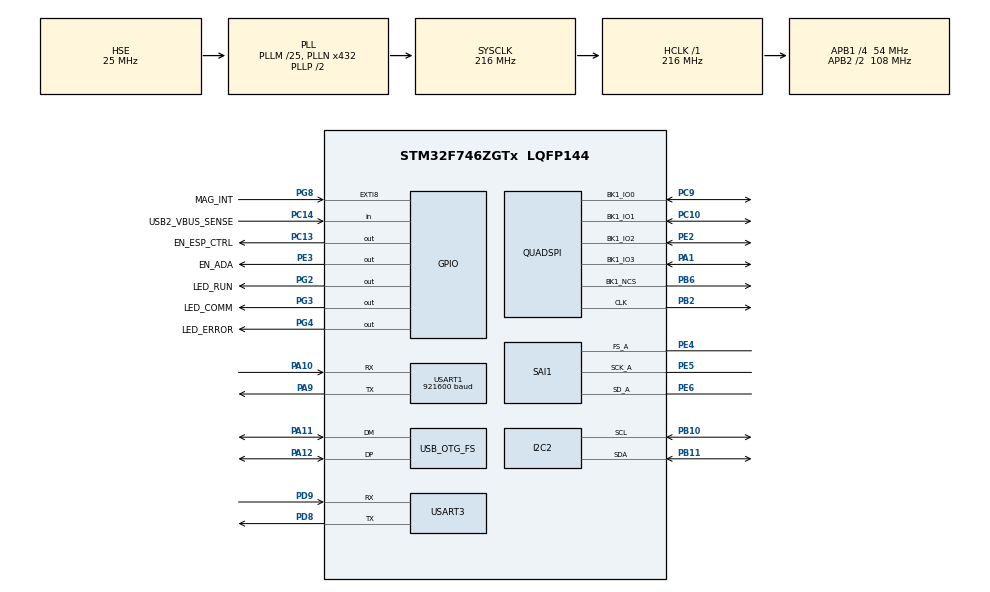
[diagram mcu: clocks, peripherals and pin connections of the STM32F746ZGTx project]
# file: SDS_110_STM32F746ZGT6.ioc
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CORTEX_M7.CPU_DCache=Enabled
CORTEX_M7.CPU_ICache=Enabled
Dma.Request0=SAI1_A
Dma.SAI1_A.0.Direction=DMA_PERIPH_TO_MEMORY
Dma.SAI1_A.0.FIFOMode=DMA_FIFOMODE_DISABLE
Dma.SAI1_A.0.Instance=DMA2_Stream1
Dma.SAI1_A.0.MemDataAlignment=DMA_MDATAALIGN_WORD
Dma.SAI1_A.0.MemInc=DMA_MINC_ENABLE
Dma.SAI1_A.0.Mode=DMA_CIRCULAR
Dma.SAI1_A.0.PeriphDataAlignment=DMA_PDATAALIGN_WORD
Dma.SAI1_A.0.PeriphInc=DMA_PINC_DISABLE
Dma.SAI1_A.0.Priority=DMA_PRIORITY_HIGH
FREERTOS.Tasks01=defaultTask,24,256,StartDefaultTask,Default,NULL,Dynamic,NULL,NULL
FREERTOS.configCHECK_FOR_STACK_OVERFLOW=2
FREERTOS.configENABLE_FPU=1
FREERTOS.configTOTAL_HEAP_SIZE=32768
FREERTOS.configUSE_APPLICATION_TASK_TAG=1
FREERTOS.configUSE_IDLE_HOOK=1
FREERTOS.configUSE_MALLOC_FAILED_HOOK=1
FREERTOS.configUSE_NEWLIB_REENTRANT=1
I2C2.Timing=0x20404768
Mcu.Family=STM32F7
Mcu.Name=STM32F746ZGTx
Mcu.Package=LQFP144
NVIC.DMA2_Stream1_IRQn=true\:5\:0\:false\:false\:true\:true\:false\:true\:true
NVIC.OTG_FS_IRQn=true\:5\:0\:false\:false\:true\:true\:true\:true\:true
NVIC.PriorityGroup=NVIC_PRIORITYGROUP_4
NVIC.SAI1_IRQn=true\:5\:0\:false\:false\:true\:true\:true\:true\:true
NVIC.TIM6_DAC_IRQn=true\:15\:0\:false\:false\:true\:false\:false\:true\:true
NVIC.TimeBase=TIM6_DAC_IRQn
NVIC.TimeBaseIP=TIM6
PA1.Mode=Single Bank 1
PA1.Signal=QUADSPI_BK1_IO3
PA10.Mode=Asynchronous
PA10.Signal=USART1_RX
PA11.Mode=Device_Only
PA11.Signal=USB_OTG_FS_DM
PA12.Mode=Device_Only
PA12.Signal=USB_OTG_FS_DP
PA13.Mode=JTAG_4_pins
PA13.Signal=SYS_JTMS-SWDIO
PA14.Mode=JTAG_4_pins
PA14.Signal=SYS_JTCK-SWCLK
PA15.Mode=JTAG_4_pins
PA15.Signal=SYS_JTDI
PA9.Mode=Asynchronous
PA9.Signal=USART1_TX
PB10.Mode=I2C
PB10.Signal=I2C2_SCL
PB11.Mode=I2C
PB11.Signal=I2C2_SDA
PB2.Mode=Single Bank 1
PB2.Signal=QUADSPI_CLK
PB3.Mode=JTAG_4_pins
PB3.Signal=SYS_JTDO-SWO
PB6.Mode=Single Bank 1
PB6.Signal=QUADSPI_BK1_NCS
PC10.Mode=Single Bank 1
PC10.Signal=QUADSPI_BK1_IO1
PC13.GPIO_Label=EN_ESP_CTRL
PC13.PinState=GPIO_PIN_SET
PC13.Signal=GPIO_Output
PC14/OSC32_IN.GPIO_Label=USB2_VBUS_SENSE
PC14/OSC32_IN.Signal=GPIO_Input
PC9.Mode=Single Bank 1
PC9.Signal=QUADSPI_BK1_IO0
PD8.Mode=Asynchronous
PD8.Signal=USART3_TX
PD9.Mode=Asynchronous
PD9.Signal=USART3_RX
PE2.Mode=Single Bank 1
PE2.Signal=QUADSPI_BK1_IO2
PE3.GPIO_Label=EN_ADA
PE3.Signal=GPIO_Output
PE4.Mode=SAI_A_Master
PE4.Signal=SAI1_FS_A
PE5.Mode=SAI_A_Master
PE5.Signal=SAI1_SCK_A
PE6.Mode=SAI_A_Master
PE6.Signal=SAI1_SD_A
PG2.GPIO_Label=LED_RUN
PG2.Signal=GPIO_Output
PG3.GPIO_Label=LED_COMM
PG3.Signal=GPIO_Output
PG4.GPIO_Label=LED_ERROR
PG4.Signal=GPIO_Output
PG8.GPIO_Label=MAG_INT
PG8.GPIO_ModeDefaultEXTI=GPIO_MODE_IT_RISING
PG8.Signal=GPXTI8
PH0/OSC_IN.Mode=HSE-External-Oscillator
PH0/OSC_IN.Signal=RCC_OSC_IN
PH1/OSC_OUT.Mode=HSE-External-Oscillator
PH1/OSC_OUT.Signal=RCC_OSC_OUT
ProjectManager.HeapSize=0x200
ProjectManager.StackSize=0x400
ProjectManager.TargetToolchain=STM32CubeIDE
QUADSPI.SampleShifting=QSPI_SAMPLE_SHIFTING_HALFCYCLE
RCC.AHBFreq_Value=216000000
RCC.APB1CLKDivider=RCC_HCLK_DIV4
RCC.APB1Freq_Value=54000000
RCC.APB1TimFreq_Value=108000000
RCC.APB2CLKDivider=RCC_HCLK_DIV2
RCC.APB2Freq_Value=108000000
RCC.APB2TimFreq_Value=216000000
RCC.CortexFreq_Value=216000000
RCC.HCLKFreq_Value=216000000
RCC.HSE_VALUE=25000000
RCC.HSI_VALUE=16000000
RCC.LSE_VALUE=32768
RCC.PLLI2SN=100
RCC.PLLM=25
RCC.PLLN=432
RCC.PLLQ=9
RCC.PLLSAIN=384
RCC.PLLSAIP=RCC_PLLSAIP_DIV8
RCC.SYSCLKFreq_VALUE=216000000
RCC.SYSCLKSource=RCC_SYSCLKSOURCE_PLLCLK
RCC.USBFreq_Value=48000000
RCC.VCOOutputFreq_Value=432000000
SAI1.AudioFrequency-SAI_A_Master=SAI_AUDIO_FREQUENCY_48K
SAI1.AudioMode-SAI_A_Master=SAI_MODEMASTER_RX
SAI1.BasicDataSize-SAI_A_Master=SAI_PROTOCOL_DATASIZE_32BIT
SAI1.BasicProtocol-SAI_A_Master=SAI_PCM_LONG
SAI1.BasicSlotNumber-SAI_A_Master=8
SAI1.ErrorAudioFreq-SAI_A_Master=-2.34 %
SAI1.InitProtocol-SAI_A_Master=Enable
SAI1.Instance-SAI_A_Master=SAI$Index_Block_A
SAI1.MClockEnable-SAI_A_Master=SAI_MASTERCLOCK_DISABLE
SAI1.RealAudioFreq-SAI_A_Master=46.875 KHz
SAI1.VirtualMode-SAI_A_Master=VM_MASTER
SAI1.VirtualProtocol-SAI_A_BASIC=VM_BASIC_PROTOCOL
STMicroelectronics.X-CUBE-ALGOBUILD.1.5.0.LibraryCcDSPOoLibraryJjDSPOoLibrary=true
USART1.BaudRate=921600
USART1.VirtualMode-Asynchronous=VM_ASYNC
USART3.VirtualMode-Asynchronous=VM_ASYNC
USB_DEVICE.CLASS_NAME_FS=CDC
USB_DEVICE.VirtualMode-CDC_FS=Cdc
USB_DEVICE.VirtualModeFS=Cdc_FS
USB_OTG_FS.VirtualMode=Device_Only
VP_FREERTOS_VS_CMSIS_V2.Mode=CMSIS_V2
VP_RTC_VS_RTC_Activate.Mode=RTC_Enabled
VP_SAI1_VP_$IpInstance_SAIA_SAI_BASIC.Mode=SAI_A_BASIC
VP_STMicroelectronics.X-CUBE-ALGOBUILD_VS_DSPOoLibraryJjLibrary_1.5.0_1.5.0.Mode=DSPOoLibraryJjLibrary
VP_SYS_VS_tim6.Mode=TIM6
VP_TIM10_VS_ClockSourceINT.Mode=Enable_Timer
VP_TIM1_VS_ClockSourceINT.Mode=Internal
VP_TIM2_VS_ClockSourceINT.Mode=Internal
VP_TIM3_VS_ClockSourceINT.Mode=Internal
VP_TIM4_VS_ClockSourceINT.Mode=Internal
VP_TIM5_VS_ClockSourceINT.Mode=Internal
VP_TIM7_VS_ClockSourceINT.Mode=Enable_Timer
VP_TIM8_VS_ClockSourceINT.Mode=Internal
VP_TIM9_VS_ClockSourceINT.Mode=Internal
VP_USB_DEVICE_VS_USB_DEVICE_CDC_FS.Mode=CDC_FS
board=custom

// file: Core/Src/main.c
/* USER CODE BEGIN Header */
/**
  ******************************************************************************
  * @file           : main.c
  * @brief          : Main program body
  ******************************************************************************
  * @attention
  *
  * Copyright (c) 2026 STMicroelectronics.
  * All rights reserved.
  *
  * This software is licensed under terms that can be found in the LICENSE file
  * in the root directory of this software component.
  * If no LICENSE file comes with this software, it is provided AS-IS.
  *
  ******************************************************************************
  */
/* USER CODE END Header */
#include "main.h"
#include "cmsis_os.h"
#include "usb_device.h"

/* USER CODE BEGIN Includes */
#include "SDS_110_Wrapper.hpp"
/* USER CODE END Includes */

I2C_HandleTypeDef hi2c2;

QSPI_HandleTypeDef hqspi;

RTC_HandleTypeDef hrtc;

SAI_HandleTypeDef hsai_BlockA1;
DMA_HandleTypeDef hdma_sai1_a;

TIM_HandleTypeDef htim1;
TIM_HandleTypeDef htim2;
TIM_HandleTypeDef htim3;
TIM_HandleTypeDef htim4;
TIM_HandleTypeDef htim5;
TIM_HandleTypeDef htim7;
TIM_HandleTypeDef htim8;
TIM_HandleTypeDef htim9;
TIM_HandleTypeDef htim10;

UART_HandleTypeDef huart1;
UART_HandleTypeDef huart3;

/* Definitions for defaultTask */
osThreadId_t defaultTaskHandle;
const osThreadAttr_t defaultTask_attributes = {
  .name = "defaultTask",
  .stack_size = 256 * 4,
  .priority = (osPriority_t) osPriorityNormal,
};

void SystemClock_Config(void);
static void MX_GPIO_Init(void);
static void MX_DMA_Init(void);
static void MX_QUADSPI_Init(void);
static void MX_RTC_Init(void);
static void MX_SAI1_Init(void);
static void MX_TIM1_Init(void);
static void MX_TIM2_Init(void);
static void MX_TIM3_Init(void);
static void MX_TIM4_Init(void);
static void MX_TIM5_Init(void);
static void MX_TIM7_Init(void);
static void MX_TIM8_Init(void);
static void MX_TIM9_Init(void);
static void MX_TIM10_Init(void);
static void MX_I2C2_Init(void);
static void MX_USART1_UART_Init(void);
static void MX_USART3_UART_Init(void);
void StartDefaultTask(void *argument);

int main(void)
{

  /* USER CODE BEGIN 1 */
  SDS110_MPU_Config();          // vor I-/D-Cache-Enable und HAL_Init (SRAM2 = DMA, nicht cachebar)
  /* USER CODE END 1 */

  /* Enable the CPU Cache */

  /* Enable I-Cache---------------------------------------------------------*/
  SCB_EnableICache();

  /* Enable D-Cache---------------------------------------------------------*/
  SCB_EnableDCache();

  /* MCU Configuration--------------------------------------------------------*/

  /* Reset of all peripherals, Initializes the Flash interface and the Systick. */
  HAL_Init();

  /* Configure the system clock */
  SystemClock_Config();

  /* USER CODE BEGIN SysInit */
  PrintfDriver();               // ITM/SWO (PB3) für printf und Fatal-Meldungen
  /* USER CODE END SysInit */

  /* Initialize all configured peripherals */
  MX_GPIO_Init();
  MX_DMA_Init();
  MX_QUADSPI_Init();
  MX_RTC_Init();
  MX_SAI1_Init();
  MX_TIM1_Init();
  MX_TIM2_Init();
  MX_TIM3_Init();
  MX_TIM4_Init();
  MX_TIM5_Init();
  MX_TIM7_Init();
  MX_TIM8_Init();
  MX_TIM9_Init();
  MX_TIM10_Init();
  MX_I2C2_Init();
  MX_USART1_UART_Init();
  MX_USART3_UART_Init();
  /* USER CODE BEGIN 2 */
#if SDS110_UART_SELFTEST
  SDS110_UartSelfTest();        // Selbsttest USART1/CP2102N, kehrt nicht zurück (SDS_110_Board.h)
#endif
  /* USER CODE END 2 */

  /* Init scheduler */
  osKernelInitialize();

  /* USER CODE BEGIN RTOS_MUTEX */
  SDS110_Init();                // ADAU7118 (I2C2) + SAI1, Module 112/120
  /* add mutexes, ... */
  /* USER CODE END RTOS_MUTEX */

  /* Create the thread(s) */
  /* creation of defaultTask */
  defaultTaskHandle = osThreadNew(StartDefaultTask, NULL, &defaultTask_attributes);

  /* USER CODE BEGIN RTOS_THREADS */
  /* add threads, ... */
  SDS110_StartProcessingTask();   // Simulation (Standard) bzw. SAI1/DMA-Hops
  SDS110_StartUSBTask();
  SDS110_StartLoggerTask();       // Logger + Status-LEDs (kein LCD auf diesem Board)
  /* USER CODE END RTOS_THREADS */

  /* Start scheduler */
  osKernelStart();

  /* We should never get here as control is now taken by the scheduler */

  /* Infinite loop */
  while (1)
  {

  }
}

void SystemClock_Config(void)
{
  RCC_OscInitTypeDef RCC_OscInitStruct = {0};
  RCC_ClkInitTypeDef RCC_ClkInitStruct = {0};

  /** Configure the main internal regulator output voltage
  */
  __HAL_RCC_PWR_CLK_ENABLE();
  __HAL_PWR_VOLTAGESCALING_CONFIG(PWR_REGULATOR_VOLTAGE_SCALE1);

  /** Initializes the RCC Oscillators according to the specified parameters
  * in the RCC_OscInitTypeDef structure.
  */
  RCC_OscInitStruct.OscillatorType = RCC_OSCILLATORTYPE_LSI|RCC_OSCILLATORTYPE_HSE;
  RCC_OscInitStruct.HSEState = RCC_HSE_ON;
  RCC_OscInitStruct.LSIState = RCC_LSI_ON;
  RCC_OscInitStruct.PLL.PLLState = RCC_PLL_ON;
  RCC_OscInitStruct.PLL.PLLSource = RCC_PLLSOURCE_HSE;
  RCC_OscInitStruct.PLL.PLLM = 25;
  RCC_OscInitStruct.PLL.PLLN = 432;
  RCC_OscInitStruct.PLL.PLLP = RCC_PLLP_DIV2;
  RCC_OscInitStruct.PLL.PLLQ = 9;
  if (HAL_RCC_OscConfig(&RCC_OscInitStruct) != HAL_OK)
  {
    Error_Handler();
  }

  /** Activate the Over-Drive mode
  */
  if (HAL_PWREx_EnableOverDrive() != HAL_OK)
  {
    Error_Handler();
  }

  /** Initializes the CPU, AHB and APB buses clocks
  */
  RCC_ClkInitStruct.ClockType = RCC_CLOCKTYPE_HCLK|RCC_CLOCKTYPE_SYSCLK
                              |RCC_CLOCKTYPE_PCLK1|RCC_CLOCKTYPE_PCLK2;
  RCC_ClkInitStruct.SYSCLKSource = RCC_SYSCLKSOURCE_PLLCLK;
  RCC_ClkInitStruct.AHBCLKDivider = RCC_SYSCLK_DIV1;
  RCC_ClkInitStruct.APB1CLKDivider = RCC_HCLK_DIV4;
  RCC_ClkInitStruct.APB2CLKDivider = RCC_HCLK_DIV2;

  if (HAL_RCC_ClockConfig(&RCC_ClkInitStruct, FLASH_LATENCY_7) != HAL_OK)
  {
    Error_Handler();
  }
}

static void MX_I2C2_Init(void)
{

  /* USER CODE BEGIN I2C2_Init 0 */
#if SDS110_BOARD_DISCO
  return;                       // Discovery-Board: Pins anders belegt, nicht initialisieren (SDS_110_Board.h)
#endif
  /* USER CODE END I2C2_Init 0 */

  hi2c2.Instance = I2C2;
  hi2c2.Init.Timing = 0x20404768;
  hi2c2.Init.OwnAddress1 = 0;
  hi2c2.Init.AddressingMode = I2C_ADDRESSINGMODE_7BIT;
  hi2c2.Init.DualAddressMode = I2C_DUALADDRESS_DISABLE;
  hi2c2.Init.OwnAddress2 = 0;
  hi2c2.Init.OwnAddress2Masks = I2C_OA2_NOMASK;
  hi2c2.Init.GeneralCallMode = I2C_GENERALCALL_DISABLE;
  hi2c2.Init.NoStretchMode = I2C_NOSTRETCH_DISABLE;
  if (HAL_I2C_Init(&hi2c2) != HAL_OK)
  {
    Error_Handler();
  }

  /** Configure Analogue filter
  */
  if (HAL_I2CEx_ConfigAnalogFilter(&hi2c2, I2C_ANALOGFILTER_ENABLE) != HAL_OK)
  {
    Error_Handler();
  }

  /** Configure Digital filter
  */
  if (HAL_I2CEx_ConfigDigitalFilter(&hi2c2, 0) != HAL_OK)
  {
    Error_Handler();
  }

}

static void MX_QUADSPI_Init(void)
{

  /* USER CODE BEGIN QUADSPI_Init 0 */
#if SDS110_BOARD_DISCO
  return;                       // Discovery-Board: Pins anders belegt, nicht initialisieren (SDS_110_Board.h)
#endif
  /* USER CODE END QUADSPI_Init 0 */

  /* QUADSPI parameter configuration*/
  hqspi.Instance = QUADSPI;
  hqspi.Init.ClockPrescaler = 255;
  hqspi.Init.FifoThreshold = 1;
  hqspi.Init.SampleShifting = QSPI_SAMPLE_SHIFTING_HALFCYCLE;
  hqspi.Init.FlashSize = 1;
  hqspi.Init.ChipSelectHighTime = QSPI_CS_HIGH_TIME_1_CYCLE;
  hqspi.Init.ClockMode = QSPI_CLOCK_MODE_0;
  hqspi.Init.FlashID = QSPI_FLASH_ID_1;
  hqspi.Init.DualFlash = QSPI_DUALFLASH_DISABLE;
  if (HAL_QSPI_Init(&hqspi) != HAL_OK)
  {
    Error_Handler();
  }

}

static void MX_RTC_Init(void)
{

  /** Initialize RTC Only
  */
  hrtc.Instance = RTC;
  hrtc.Init.HourFormat = RTC_HOURFORMAT_24;
  hrtc.Init.AsynchPrediv = 127;
  hrtc.Init.SynchPrediv = 255;
  hrtc.Init.OutPut = RTC_OUTPUT_DISABLE;
  hrtc.Init.OutPutPolarity = RTC_OUTPUT_POLARITY_HIGH;
  hrtc.Init.OutPutType = RTC_OUTPUT_TYPE_OPENDRAIN;
  if (HAL_RTC_Init(&hrtc) != HAL_OK)
  {
    Error_Handler();
  }

}

static void MX_SAI1_Init(void)
{

  /* USER CODE BEGIN SAI1_Init 0 */
#if !SDS110_SAI_ENABLED
  return;                       // SAI-Hardwarefehler: SAI1 nicht initialisieren (SDS_110_Board.h)
#endif
  /* USER CODE END SAI1_Init 0 */

  hsai_BlockA1.Instance = SAI1_Block_A;
  hsai_BlockA1.Init.AudioMode = SAI_MODEMASTER_RX;
  hsai_BlockA1.Init.Synchro = SAI_ASYNCHRONOUS;
  hsai_BlockA1.Init.OutputDrive = SAI_OUTPUTDRIVE_DISABLE;
  hsai_BlockA1.Init.NoDivider = SAI_MASTERDIVIDER_ENABLE;
  hsai_BlockA1.Init.FIFOThreshold = SAI_FIFOTHRESHOLD_EMPTY;
  hsai_BlockA1.Init.AudioFrequency = SAI_AUDIO_FREQUENCY_48K;
  hsai_BlockA1.Init.SynchroExt = SAI_SYNCEXT_DISABLE;
  hsai_BlockA1.Init.MonoStereoMode = SAI_STEREOMODE;
  hsai_BlockA1.Init.CompandingMode = SAI_NOCOMPANDING;
  if (HAL_SAI_InitProtocol(&hsai_BlockA1, SAI_PCM_LONG, SAI_PROTOCOL_DATASIZE_32BIT, 8) != HAL_OK)
  {
    Error_Handler();
  }

}

static void MX_TIM1_Init(void)
{

  TIM_ClockConfigTypeDef sClockSourceConfig = {0};
  TIM_MasterConfigTypeDef sMasterConfig = {0};

  htim1.Instance = TIM1;
  htim1.Init.Prescaler = 0;
  htim1.Init.CounterMode = TIM_COUNTERMODE_UP;
  htim1.Init.Period = 65535;
  htim1.Init.ClockDivision = TIM_CLOCKDIVISION_DIV1;
  htim1.Init.RepetitionCounter = 0;
  htim1.Init.AutoReloadPreload = TIM_AUTORELOAD_PRELOAD_DISABLE;
  if (HAL_TIM_Base_Init(&htim1) != HAL_OK)
  {
    Error_Handler();
  }
  sClockSourceConfig.ClockSource = TIM_CLOCKSOURCE_INTERNAL;
  if (HAL_TIM_ConfigClockSource(&htim1, &sClockSourceConfig) != HAL_OK)
  {
    Error_Handler();
  }
  sMasterConfig.MasterOutputTrigger = TIM_TRGO_RESET;
  sMasterConfig.MasterOutputTrigger2 = TIM_TRGO2_RESET;
  sMasterConfig.MasterSlaveMode = TIM_MASTERSLAVEMODE_DISABLE;
  if (HAL_TIMEx_MasterConfigSynchronization(&htim1, &sMasterConfig) != HAL_OK)
  {
    Error_Handler();
  }

}

static void MX_TIM2_Init(void)
{

  TIM_ClockConfigTypeDef sClockSourceConfig = {0};
  TIM_MasterConfigTypeDef sMasterConfig = {0};

  htim2.Instance = TIM2;
  htim2.Init.Prescaler = 0;
  htim2.Init.CounterMode = TIM_COUNTERMODE_UP;
  htim2.Init.Period = 4294967295;
  htim2.Init.ClockDivision = TIM_CLOCKDIVISION_DIV1;
  htim2.Init.AutoReloadPreload = TIM_AUTORELOAD_PRELOAD_DISABLE;
  if (HAL_TIM_Base_Init(&htim2) != HAL_OK)
  {
    Error_Handler();
  }
  sClockSourceConfig.ClockSource = TIM_CLOCKSOURCE_INTERNAL;
  if (HAL_TIM_ConfigClockSource(&htim2, &sClockSourceConfig) != HAL_OK)
  {
    Error_Handler();
  }
  sMasterConfig.MasterOutputTrigger = TIM_TRGO_RESET;
  sMasterConfig.MasterSlaveMode = TIM_MASTERSLAVEMODE_DISABLE;
  if (HAL_TIMEx_MasterConfigSynchronization(&htim2, &sMasterConfig) != HAL_OK)
  {
    Error_Handler();
  }

}

static void MX_TIM3_Init(void)
{

  TIM_ClockConfigTypeDef sClockSourceConfig = {0};
  TIM_MasterConfigTypeDef sMasterConfig = {0};

  htim3.Instance = TIM3;
  htim3.Init.Prescaler = 0;
  htim3.Init.CounterMode = TIM_COUNTERMODE_UP;
  htim3.Init.Period = 65535;
  htim3.Init.ClockDivision = TIM_CLOCKDIVISION_DIV1;
  htim3.Init.AutoReloadPreload = TIM_AUTORELOAD_PRELOAD_DISABLE;
  if (HAL_TIM_Base_Init(&htim3) != HAL_OK)
  {
    Error_Handler();
  }
  sClockSourceConfig.ClockSource = TIM_CLOCKSOURCE_INTERNAL;
  if (HAL_TIM_ConfigClockSource(&htim3, &sClockSourceConfig) != HAL_OK)
  {
    Error_Handler();
  }
  sMasterConfig.MasterOutputTrigger = TIM_TRGO_RESET;
  sMasterConfig.MasterSlaveMode = TIM_MASTERSLAVEMODE_DISABLE;
  if (HAL_TIMEx_MasterConfigSynchronization(&htim3, &sMasterConfig) != HAL_OK)
  {
    Error_Handler();
  }

}

static void MX_TIM4_Init(void)
{

  TIM_ClockConfigTypeDef sClockSourceConfig = {0};
  TIM_MasterConfigTypeDef sMasterConfig = {0};

  htim4.Instance = TIM4;
  htim4.Init.Prescaler = 0;
  htim4.Init.CounterMode = TIM_COUNTERMODE_UP;
  htim4.Init.Period = 65535;
  htim4.Init.ClockDivision = TIM_CLOCKDIVISION_DIV1;
  htim4.Init.AutoReloadPreload = TIM_AUTORELOAD_PRELOAD_DISABLE;
  if (HAL_TIM_Base_Init(&htim4) != HAL_OK)
  {
    Error_Handler();
  }
  sClockSourceConfig.ClockSource = TIM_CLOCKSOURCE_INTERNAL;
  if (HAL_TIM_ConfigClockSource(&htim4, &sClockSourceConfig) != HAL_OK)
  {
    Error_Handler();
  }
  sMasterConfig.MasterOutputTrigger = TIM_TRGO_RESET;
  sMasterConfig.MasterSlaveMode = TIM_MASTERSLAVEMODE_DISABLE;
  if (HAL_TIMEx_MasterConfigSynchronization(&htim4, &sMasterConfig) != HAL_OK)
  {
    Error_Handler();
  }

}

static void MX_TIM5_Init(void)
{

  TIM_ClockConfigTypeDef sClockSourceConfig = {0};
  TIM_MasterConfigTypeDef sMasterConfig = {0};

  htim5.Instance = TIM5;
  htim5.Init.Prescaler = 0;
  htim5.Init.CounterMode = TIM_COUNTERMODE_UP;
  htim5.Init.Period = 4294967295;
  htim5.Init.ClockDivision = TIM_CLOCKDIVISION_DIV1;
  htim5.Init.AutoReloadPreload = TIM_AUTORELOAD_PRELOAD_DISABLE;
  if (HAL_TIM_Base_Init(&htim5) != HAL_OK)
  {
    Error_Handler();
  }
  sClockSourceConfig.ClockSource = TIM_CLOCKSOURCE_INTERNAL;
  if (HAL_TIM_ConfigClockSource(&htim5, &sClockSourceConfig) != HAL_OK)
  {
    Error_Handler();
  }
  sMasterConfig.MasterOutputTrigger = TIM_TRGO_RESET;
  sMasterConfig.MasterSlaveMode = TIM_MASTERSLAVEMODE_DISABLE;
  if (HAL_TIMEx_MasterConfigSynchronization(&htim5, &sMasterConfig) != HAL_OK)
  {
    Error_Handler();
  }

}

static void MX_TIM7_Init(void)
{

  TIM_MasterConfigTypeDef sMasterConfig = {0};

  htim7.Instance = TIM7;
  htim7.Init.Prescaler = 0;
  htim7.Init.CounterMode = TIM_COUNTERMODE_UP;
  htim7.Init.Period = 65535;
  htim7.Init.AutoReloadPreload = TIM_AUTORELOAD_PRELOAD_DISABLE;
  if (HAL_TIM_Base_Init(&htim7) != HAL_OK)
  {
    Error_Handler();
  }
  sMasterConfig.MasterOutputTrigger = TIM_TRGO_RESET;
  sMasterConfig.MasterSlaveMode = TIM_MASTERSLAVEMODE_DISABLE;
  if (HAL_TIMEx_MasterConfigSynchronization(&htim7, &sMasterConfig) != HAL_OK)
  {
    Error_Handler();
  }

}

static void MX_TIM8_Init(void)
{

  TIM_ClockConfigTypeDef sClockSourceConfig = {0};
  TIM_MasterConfigTypeDef sMasterConfig = {0};

  htim8.Instance = TIM8;
  htim8.Init.Prescaler = 0;
  htim8.Init.CounterMode = TIM_COUNTERMODE_UP;
  htim8.Init.Period = 65535;
  htim8.Init.ClockDivision = TIM_CLOCKDIVISION_DIV1;
  htim8.Init.RepetitionCounter = 0;
  htim8.Init.AutoReloadPreload = TIM_AUTORELOAD_PRELOAD_DISABLE;
  if (HAL_TIM_Base_Init(&htim8) != HAL_OK)
  {
    Error_Handler();
  }
  sClockSourceConfig.ClockSource = TIM_CLOCKSOURCE_INTERNAL;
  if (HAL_TIM_ConfigClockSource(&htim8, &sClockSourceConfig) != HAL_OK)
  {
    Error_Handler();
  }
  sMasterConfig.MasterOutputTrigger = TIM_TRGO_RESET;
  sMasterConfig.MasterOutputTrigger2 = TIM_TRGO2_RESET;
  sMasterConfig.MasterSlaveMode = TIM_MASTERSLAVEMODE_DISABLE;
  if (HAL_TIMEx_MasterConfigSynchronization(&htim8, &sMasterConfig) != HAL_OK)
  {
    Error_Handler();
  }

}

static void MX_TIM9_Init(void)
{

  TIM_ClockConfigTypeDef sClockSourceConfig = {0};

  htim9.Instance = TIM9;
  htim9.Init.Prescaler = 0;
  htim9.Init.CounterMode = TIM_COUNTERMODE_UP;
  htim9.Init.Period = 65535;
  htim9.Init.ClockDivision = TIM_CLOCKDIVISION_DIV1;
  htim9.Init.AutoReloadPreload = TIM_AUTORELOAD_PRELOAD_DISABLE;
  if (HAL_TIM_Base_Init(&htim9) != HAL_OK)
  {
    Error_Handler();
  }
  sClockSourceConfig.ClockSource = TIM_CLOCKSOURCE_INTERNAL;
  if (HAL_TIM_ConfigClockSource(&htim9, &sClockSourceConfig) != HAL_OK)
  {
    Error_Handler();
  }

}

static void MX_TIM10_Init(void)
{

  htim10.Instance = TIM10;
  htim10.Init.Prescaler = 0;
  htim10.Init.CounterMode = TIM_COUNTERMODE_UP;
  htim10.Init.Period = 65535;
  htim10.Init.ClockDivision = TIM_CLOCKDIVISION_DIV1;
  htim10.Init.AutoReloadPreload = TIM_AUTORELOAD_PRELOAD_DISABLE;
  if (HAL_TIM_Base_Init(&htim10) != HAL_OK)
  {
    Error_Handler();
  }

}

static void MX_USART1_UART_Init(void)
{

  /* USER CODE BEGIN USART1_Init 0 */
#if SDS110_BOARD_DISCO
  return;                       // Discovery-Board: Pins anders belegt, nicht initialisieren (SDS_110_Board.h)
#endif
  /* USER CODE END USART1_Init 0 */

  huart1.Instance = USART1;
  huart1.Init.BaudRate = 921600;
  huart1.Init.WordLength = UART_WORDLENGTH_8B;
  huart1.Init.StopBits = UART_STOPBITS_1;
  huart1.Init.Parity = UART_PARITY_NONE;
  huart1.Init.Mode = UART_MODE_TX_RX;
  huart1.Init.HwFlowCtl = UART_HWCONTROL_NONE;
  huart1.Init.OverSampling = UART_OVERSAMPLING_16;
  huart1.Init.OneBitSampling = UART_ONE_BIT_SAMPLE_DISABLE;
  huart1.AdvancedInit.AdvFeatureInit = UART_ADVFEATURE_NO_INIT;
  if (HAL_UART_Init(&huart1) != HAL_OK)
  {
    Error_Handler();
  }

}

static void MX_USART3_UART_Init(void)
{

  /* USER CODE BEGIN USART3_Init 0 */
#if SDS110_BOARD_DISCO
  return;                       // Discovery-Board: Pins anders belegt, nicht initialisieren (SDS_110_Board.h)
#endif
  /* USER CODE END USART3_Init 0 */

  huart3.Instance = USART3;
  huart3.Init.BaudRate = 115200;
  huart3.Init.WordLength = UART_WORDLENGTH_8B;
  huart3.Init.StopBits = UART_STOPBITS_1;
  huart3.Init.Parity = UART_PARITY_NONE;
  huart3.Init.Mode = UART_MODE_TX_RX;
  huart3.Init.HwFlowCtl = UART_HWCONTROL_NONE;
  huart3.Init.OverSampling = UART_OVERSAMPLING_16;
  huart3.Init.OneBitSampling = UART_ONE_BIT_SAMPLE_DISABLE;
  huart3.AdvancedInit.AdvFeatureInit = UART_ADVFEATURE_NO_INIT;
  if (HAL_UART_Init(&huart3) != HAL_OK)
  {
    Error_Handler();
  }

}

static void MX_DMA_Init(void)
{

  /* DMA controller clock enable */
  __HAL_RCC_DMA2_CLK_ENABLE();

  /* DMA interrupt init */
  /* DMA2_Stream1_IRQn interrupt configuration */
  HAL_NVIC_SetPriority(DMA2_Stream1_IRQn, 5, 0);
  HAL_NVIC_EnableIRQ(DMA2_Stream1_IRQn);

}

static void MX_GPIO_Init(void)
{
  GPIO_InitTypeDef GPIO_InitStruct = {0};
  /* USER CODE BEGIN MX_GPIO_Init_1 */
#if SDS110_BOARD_DISCO
  return;                       // Discovery-Board: EN_ESP/EN_ADA/LEDs/MAG_INT anders belegt, nicht initialisieren (SDS_110_Board.h)
#endif
  /* USER CODE END MX_GPIO_Init_1 */

  /* GPIO Ports Clock Enable */
  __HAL_RCC_GPIOE_CLK_ENABLE();
  __HAL_RCC_GPIOC_CLK_ENABLE();
  __HAL_RCC_GPIOH_CLK_ENABLE();
  __HAL_RCC_GPIOA_CLK_ENABLE();
  __HAL_RCC_GPIOB_CLK_ENABLE();
  __HAL_RCC_GPIOD_CLK_ENABLE();
  __HAL_RCC_GPIOG_CLK_ENABLE();

  /*Configure GPIO pin Output Level */
  HAL_GPIO_WritePin(EN_ADA_GPIO_Port, EN_ADA_Pin, GPIO_PIN_RESET);

  /*Configure GPIO pin Output Level */
  HAL_GPIO_WritePin(EN_ESP_CTRL_GPIO_Port, EN_ESP_CTRL_Pin, GPIO_PIN_SET);

  /*Configure GPIO pin Output Level */
  HAL_GPIO_WritePin(GPIOG, LED_RUN_Pin|LED_COMM_Pin|LED_ERROR_Pin, GPIO_PIN_RESET);

  /*Configure GPIO pin : EN_ADA_Pin */
  GPIO_InitStruct.Pin = EN_ADA_Pin;
  GPIO_InitStruct.Mode = GPIO_MODE_OUTPUT_PP;
  GPIO_InitStruct.Pull = GPIO_NOPULL;
  GPIO_InitStruct.Speed = GPIO_SPEED_FREQ_LOW;
  HAL_GPIO_Init(EN_ADA_GPIO_Port, &GPIO_InitStruct);

  /*Configure GPIO pin : EN_ESP_CTRL_Pin */
  GPIO_InitStruct.Pin = EN_ESP_CTRL_Pin;
  GPIO_InitStruct.Mode = GPIO_MODE_OUTPUT_PP;
  GPIO_InitStruct.Pull = GPIO_NOPULL;
  GPIO_InitStruct.Speed = GPIO_SPEED_FREQ_LOW;
  HAL_GPIO_Init(EN_ESP_CTRL_GPIO_Port, &GPIO_InitStruct);

  /*Configure GPIO pin : USB2_VBUS_SENSE_Pin */
  GPIO_InitStruct.Pin = USB2_VBUS_SENSE_Pin;
  GPIO_InitStruct.Mode = GPIO_MODE_INPUT;
  GPIO_InitStruct.Pull = GPIO_NOPULL;
  HAL_GPIO_Init(USB2_VBUS_SENSE_GPIO_Port, &GPIO_InitStruct);

  /*Configure GPIO pins : LED_RUN_Pin LED_COMM_Pin LED_ERROR_Pin */
  GPIO_InitStruct.Pin = LED_RUN_Pin|LED_COMM_Pin|LED_ERROR_Pin;
  GPIO_InitStruct.Mode = GPIO_MODE_OUTPUT_PP;
  GPIO_InitStruct.Pull = GPIO_NOPULL;
  GPIO_InitStruct.Speed = GPIO_SPEED_FREQ_LOW;
  HAL_GPIO_Init(GPIOG, &GPIO_InitStruct);

  /*Configure GPIO pin : MAG_INT_Pin */
  GPIO_InitStruct.Pin = MAG_INT_Pin;
  GPIO_InitStruct.Mode = GPIO_MODE_IT_RISING;
  GPIO_InitStruct.Pull = GPIO_NOPULL;
  HAL_GPIO_Init(MAG_INT_GPIO_Port, &GPIO_InitStruct);

}

void StartDefaultTask(void *argument)
{
  /* init code for USB_DEVICE */
  MX_USB_DEVICE_Init();
  for(;;)
  {
    osDelay(1);
  }
}

void HAL_TIM_PeriodElapsedCallback(TIM_HandleTypeDef *htim)
{
  if (htim->Instance == TIM6)
  {
    HAL_IncTick();
  }
}

void Error_Handler(void)
{
  __disable_irq();
  while (1)
  {
  }
}

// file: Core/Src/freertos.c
/* USER CODE BEGIN Header */
/**
  ******************************************************************************
  * File Name          : freertos.c
  * Description        : Code for freertos applications
  ******************************************************************************
  * @attention
  *
  * Copyright (c) 2026 STMicroelectronics.
  * All rights reserved.
  *
  * This software is licensed under terms that can be found in the LICENSE file
  * in the root directory of this software component.
  * If no LICENSE file comes with this software, it is provided AS-IS.
  *
  ******************************************************************************
  */
/* USER CODE END Header */

#include "FreeRTOS.h"
#include "task.h"
#include "main.h"

/* USER CODE BEGIN Includes */
#include "SDS110_Fatal.h"

/* USER CODE END Includes */

/* Hook prototypes */
void vApplicationIdleHook(void);
void vApplicationStackOverflowHook(xTaskHandle xTask, signed char *pcTaskName);
void vApplicationMallocFailedHook(void);

/* USER CODE BEGIN 2 */
void vApplicationIdleHook( void )
{
   /* vApplicationIdleHook() will only be called if configUSE_IDLE_HOOK is set
   to 1 in FreeRTOSConfig.h. It will be called on each iteration of the idle
   task. It is essential that code added to this hook function never attempts
   to block in any way (for example, call xQueueReceive() with a block time
   specified, or call vTaskDelay()). If the application makes use of the
   vTaskDelete() API function (as this demo application does) then it is also
   important that vApplicationIdleHook() is permitted to return to its calling
   function, because it is the responsibility of the idle task to clean up
   memory allocated by the kernel to any task that has since been deleted. */
}
/* USER CODE END 2 */

/* USER CODE BEGIN 4 */
void vApplicationStackOverflowHook(xTaskHandle xTask, signed char *pcTaskName)
{
   /* Stacküberlauf (configCHECK_FOR_STACK_OVERFLOW = 2): anhalten, damit der Fehler im
   Debugger sichtbar ist; pcTaskName nennt den betroffenen Task. */
   (void)xTask;
   SDS110_FatalStackOverflow((const char*)pcTaskName);   /* ITM/SWO-Meldung + LED_ERROR, dann anhalten */
}
/* USER CODE END 4 */

/* USER CODE BEGIN 5 */
void vApplicationMallocFailedHook(void)
{
   /* pvPortMalloc() fehlgeschlagen: FreeRTOS-Heap (configTOTAL_HEAP_SIZE) reicht nicht
   für Task, Queue oder Mutex. Anhalten statt mit NULL-Handle weiterzulaufen. */
   SDS110_FatalMallocFailed();                           /* ITM/SWO-Meldung + LED_ERROR, dann anhalten */
}
/* USER CODE END 5 */
